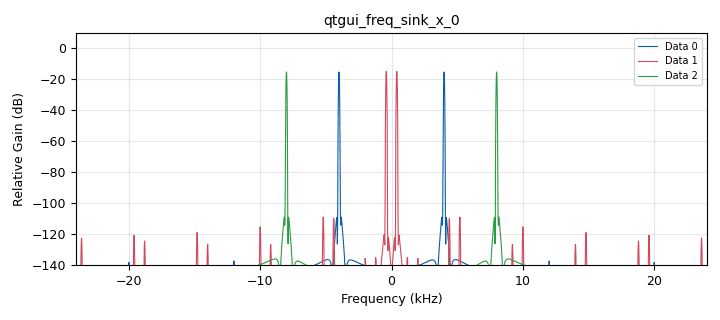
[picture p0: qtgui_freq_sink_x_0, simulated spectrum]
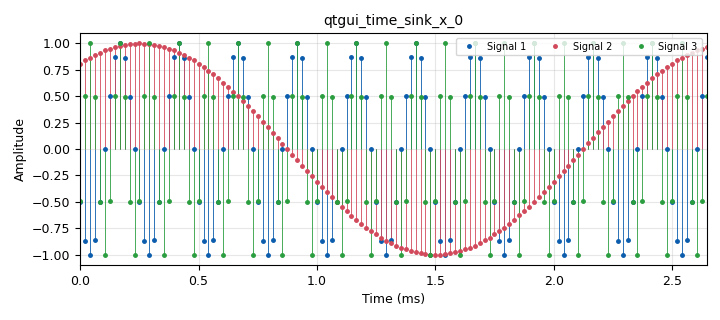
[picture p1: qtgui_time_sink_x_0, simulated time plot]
options:
  parameters:
    author: Mauricio_Ortiz_Victor_Muñoz_J1B_G1
    generate_options: qt_gui
    id: Lab1_punto5
    output_language: python
    title: Lab1_punto5_interpolacion
  states: {}

blocks:
- name: Freq
  id: variable_qtgui_range
  parameters:
    label: Frequency
    start: '1000'
    step: '1000'
    stop: '40000'
    value: '4000'
  states: {}
- name: samp_rate
  id: variable
  parameters:
    value: '48000'
  states: {}
- name: analog_sig_source_x_0
  id: analog_sig_source_x
  parameters:
    amp: '1'
    freq: Freq
    offset: '0'
    phase: '0'
    samp_rate: samp_rate
    type: float
    waveform: analog.GR_COS_WAVE
  states: {}
- name: analog_sig_source_x_1
  id: analog_sig_source_x
  parameters:
    amp: '1'
    freq: Freq
    offset: '0'
    phase: '0'
    samp_rate: samp_rate
    type: float
    waveform: analog.GR_COS_WAVE
  states: {}
- name: analog_sig_source_x_2
  id: analog_sig_source_x
  parameters:
    amp: '1'
    freq: Freq
    offset: '0'
    phase: '0'
    samp_rate: samp_rate
    type: float
    waveform: analog.GR_COS_WAVE
  states: {}
- name: blocks_throttle_0
  id: blocks_throttle
  parameters:
    samples_per_second: samp_rate
    type: float
  states: {}
- name: qtgui_freq_sink_x_0
  id: qtgui_freq_sink_x
  parameters:
    bw: samp_rate
    fc: '0'
    fftsize: '2048'
    nconnections: '3'
    type: float
  states: {}
- name: qtgui_time_sink_x_0
  id: qtgui_time_sink_x
  parameters:
    autoscale: 'True'
    nconnections: '3'
    size: '128'
    srate: samp_rate
    stemplot: 'True'
    type: float
  states: {}
- name: rational_resampler_xxx_0
  id: rational_resampler_xxx
  parameters:
    decim: '1'
    interp: '1'
    type: fff
  states: {}
- name: rational_resampler_xxx_1
  id: rational_resampler_xxx
  parameters:
    decim: '1'
    interp: '10'
    type: fff
  states: {}
- name: rational_resampler_xxx_2
  id: rational_resampler_xxx
  parameters:
    decim: '2'
    interp: '1'
    type: fff
  states: {}

connections:
- [analog_sig_source_x_0, '0', rational_resampler_xxx_0, '0']
- [analog_sig_source_x_1, '0', rational_resampler_xxx_1, '0']
- [analog_sig_source_x_2, '0', rational_resampler_xxx_2, '0']
- [blocks_throttle_0, '0', qtgui_freq_sink_x_0, '0']
- [blocks_throttle_0, '0', qtgui_time_sink_x_0, '0']
- [rational_resampler_xxx_0, '0', blocks_throttle_0, '0']
- [rational_resampler_xxx_1, '0', qtgui_freq_sink_x_0, '1']
- [rational_resampler_xxx_1, '0', qtgui_time_sink_x_0, '1']
- [rational_resampler_xxx_2, '0', qtgui_freq_sink_x_0, '2']
- [rational_resampler_xxx_2, '0', qtgui_time_sink_x_0, '2']

metadata:
  file_format: 1
